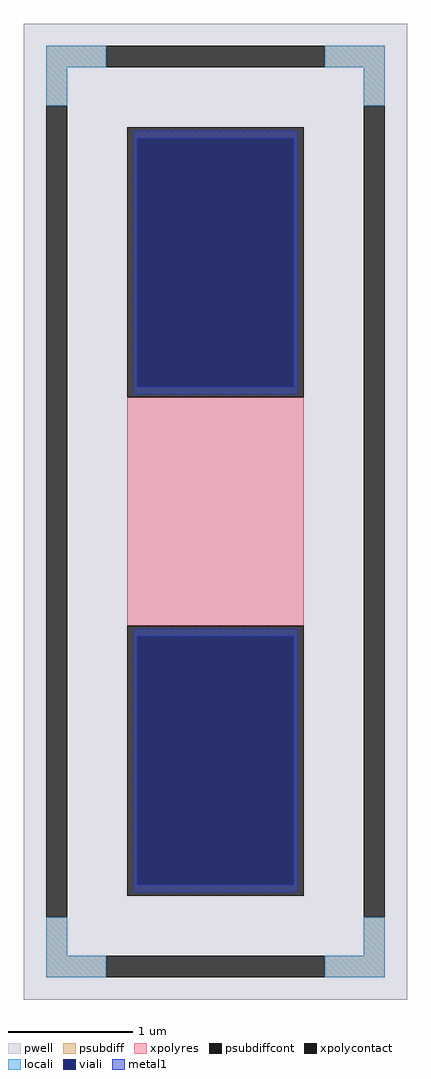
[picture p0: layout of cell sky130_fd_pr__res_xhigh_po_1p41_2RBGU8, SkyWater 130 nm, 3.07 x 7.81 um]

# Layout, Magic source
magic
tech sky130A
magscale 1 2
<< pwell >>
rect -307 -781 307 781
<< psubdiff >>
rect -271 711 -175 745
rect 175 711 271 745
rect -271 649 -237 711
rect 237 649 271 711
rect -271 -711 -237 -649
rect 237 -711 271 -649
rect -271 -745 -175 -711
rect 175 -745 271 -711
<< psubdiffcont >>
rect -175 711 175 745
rect -271 -649 -237 649
rect 237 -649 271 649
rect -175 -745 175 -711
<< xpolycontact >>
rect -141 183 141 615
rect -141 -615 141 -183
<< xpolyres >>
rect -141 -183 141 183
<< locali >>
rect -271 711 -175 745
rect 175 711 271 745
rect -271 649 -237 711
rect 237 649 271 711
rect -271 -711 -237 -649
rect 237 -711 271 -649
rect -271 -745 -175 -711
rect 175 -745 271 -711
<< viali >>
rect -125 200 125 597
rect -125 -597 125 -200
<< metal1 >>
rect -131 597 131 609
rect -131 200 -125 597
rect 125 200 131 597
rect -131 188 131 200
rect -131 -200 131 -188
rect -131 -597 -125 -200
rect 125 -597 131 -200
rect -131 -609 131 -597
<< properties >>
string FIXED_BBOX -254 -728 254 728
string gencell sky130_fd_pr__res_xhigh_po_1p41
string library sky130
string parameters w 1.410 l 1.989 m 1 nx 1 wmin 1.410 lmin 0.50 rho 2000 val 3.088k dummy 0 dw 0.0 term 188.2 sterm 0.0 caplen 0 wmax 1.410 guard 1 glc 1 grc 1 gtc 1 gbc 1 compatible {sky130_fd_pr__res_xhigh_po_0p35  sky130_fd_pr__res_xhigh_po_0p69 sky130_fd_pr__res_xhigh_po_1p41  sky130_fd_pr__res_xhigh_po_2p85 sky130_fd_pr__res_xhigh_po_5p73} snake 0 full_metal 1 n_guard 0 hv_guard 0 vias 1 viagb 0 viagt 0 viagl 0 viagr 0
<< end >>
